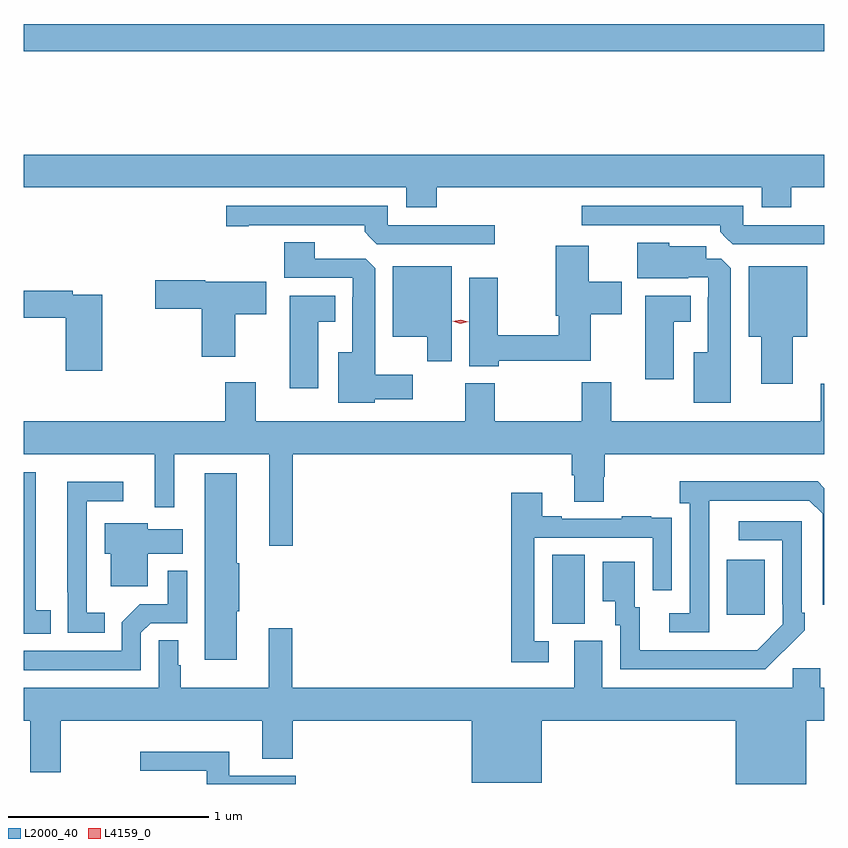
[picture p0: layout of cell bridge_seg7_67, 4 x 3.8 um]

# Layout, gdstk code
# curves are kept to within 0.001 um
import gdstk
lib = gdstk.Library(unit=1e-6, precision=1e-09)
def R(c, l, rs):  # rectangles x0, y0, x1, y1
    for r in rs: c.add(gdstk.rectangle(r[:2], r[2:], *l))
def P(c, l, *ps):  # polygons
    for p in ps: c.add(gdstk.Polygon(p, *l))
L2000_40 = (2000, 40)
L4159_0 = (4159, 0)

bridge_seg7_67 = lib.new_cell('bridge_seg7_67')
R(bridge_seg7_67, L2000_40, [(1079.072,1025.077,1079.236,1025.42), (1079.945,1025.121,1080.133,1025.395), (1076.432,1027.936,1080.432,1028.072)])
P(bridge_seg7_67, L2000_40, [(1078.496,1027.256),(1080.119,1027.256),(1080.119,1027.157),(1080.267,1027.157),(1080.267,1027.256),(1080.432,1027.256),(1080.432,1027.42),(1076.432,1027.42),(1076.432,1027.256),(1078.343,1027.256),(1078.343,1027.157),(1078.496,1027.157)],
  [(1080.432,1027.068),(1080.027,1027.068),(1080.027,1027.164),(1079.22,1027.164),(1079.22,1027.068),(1079.912,1027.068),(1079.912,1027.034),(1079.94,1027.005),(1079.973,1026.972),(1080.432,1026.972)],
  [(1078.786,1027.068),(1078.251,1027.068),(1078.251,1027.164),(1077.444,1027.164),(1077.444,1027.063),(1077.556,1027.063),(1077.556,1027.068),(1078.136,1027.068),(1078.136,1027.034),(1078.164,1027.005),(1078.197,1026.972),(1078.786,1026.972)],
  [(1078.185,1026.197),(1078.375,1026.197),(1078.375,1026.319),(1078.189,1026.319),(1078.189,1026.851),(1078.14,1026.9),(1077.886,1026.9),(1077.886,1026.983),(1077.734,1026.983),(1077.734,1026.804),(1078.077,1026.804),(1078.077,1026.707),(1078.073,1026.707),(1078.073,1026.433),(1078.004,1026.433),(1078.004,1026.179),(1078.185,1026.179)],
  [(1079.965,1026.851),(1079.916,1026.9),(1079.842,1026.9),(1079.842,1026.961),(1079.658,1026.961),(1079.658,1026.979),(1079.498,1026.979),(1079.498,1026.803),(1079.753,1026.803),(1079.753,1026.807),(1079.853,1026.807),(1079.853,1026.707),(1079.849,1026.707),(1079.849,1026.433),(1079.78,1026.433),(1079.78,1026.179),(1079.965,1026.179)],
  [(1078.805,1026.39),(1079.266,1026.39),(1079.266,1026.622),(1079.419,1026.622),(1079.419,1026.784),(1079.254,1026.784),(1079.254,1026.964),(1079.089,1026.964),(1079.089,1026.615),(1079.104,1026.615),(1079.104,1026.518),(1078.8,1026.518),(1078.8,1026.805),(1078.658,1026.805),(1078.658,1026.362),(1078.805,1026.362)],
  [(1078.57,1026.862),(1078.277,1026.862),(1078.277,1026.509),(1078.448,1026.509),(1078.448,1026.387),(1078.57,1026.387)],
  [(1080.274,1026.509),(1080.346,1026.509),(1080.346,1026.862),(1080.053,1026.862),(1080.053,1026.509),(1080.116,1026.509),(1080.116,1026.276),(1080.274,1026.276)],
  [(1077.49,1026.622),(1077.643,1026.622),(1077.643,1026.784),(1077.339,1026.784),(1077.339,1026.792),(1077.09,1026.792),(1077.09,1026.65),(1077.323,1026.65),(1077.323,1026.411),(1077.49,1026.411)],
  [(1076.825,1026.72),(1076.678,1026.72),(1076.678,1026.74),(1076.432,1026.74),(1076.432,1026.604),(1076.642,1026.604),(1076.642,1026.339),(1076.825,1026.339)],
  [(1079.68,1026.584),(1079.764,1026.584),(1079.764,1026.715),(1079.537,1026.715),(1079.537,1026.297),(1079.68,1026.297)],
  [(1077.904,1026.584),(1077.988,1026.584),(1077.988,1026.715),(1077.761,1026.715),(1077.761,1026.252),(1077.904,1026.252)],
  [(1079.331,1025.811),(1079.336,1025.811),(1079.336,1025.924),(1080.432,1025.924),(1080.432,1026.276),(1080.413,1026.276),(1080.413,1026.088),(1079.368,1026.088),(1079.368,1026.283),(1079.221,1026.283),(1079.221,1026.088),(1078.785,1026.088),(1078.785,1026.277),(1078.637,1026.277),(1078.637,1026.088),(1077.592,1026.088),(1077.592,1026.283),(1077.44,1026.283),(1077.44,1026.088),(1076.432,1026.088),(1076.432,1025.924),(1077.086,1025.924),(1077.086,1025.658),(1077.184,1025.658),(1077.184,1025.924),(1077.659,1025.924),(1077.659,1025.466),(1077.776,1025.466),(1077.776,1025.924),(1079.171,1025.924),(1079.171,1025.818),(1079.183,1025.818),(1079.183,1025.686),(1079.331,1025.686)],
  [(1076.567,1025.145),(1076.494,1025.145),(1076.494,1025.832),(1076.432,1025.832),(1076.432,1025.026),(1076.567,1025.026)],
  [(1077.496,1025.14),(1077.509,1025.14),(1077.509,1025.378),(1077.496,1025.378),(1077.496,1025.827),(1077.338,1025.827),(1077.338,1024.896),(1077.496,1024.896)],
  [(1079.856,1025.491),(1079.857,1025.691),(1080.357,1025.691),(1080.423,1025.625),(1080.423,1025.172),(1080.432,1025.172),(1080.432,1025.754),(1080.398,1025.788),(1079.709,1025.788),(1079.709,1025.678),(1079.76,1025.678),(1079.76,1025.13),(1079.658,1025.13),(1079.658,1025.034),(1079.856,1025.034)],
  [(1076.837,1025.132),(1076.748,1025.132),(1076.748,1025.688),(1076.929,1025.688),(1076.929,1025.785),(1076.651,1025.785),(1076.651,1025.234),(1076.652,1025.234),(1076.652,1025.031),(1076.837,1025.031)],
  [(1079.056,1024.989),(1078.983,1024.989),(1078.983,1025.505),(1079.574,1025.505),(1079.574,1025.244),(1079.67,1025.244),(1079.67,1025.498),(1079.669,1025.498),(1079.669,1025.607),(1079.567,1025.607),(1079.567,1025.614),(1079.419,1025.614),(1079.419,1025.601),(1079.119,1025.601),(1079.119,1025.614),(1079.023,1025.614),(1079.023,1025.731),(1078.867,1025.731),(1078.867,1024.884),(1079.056,1024.884)],
  [(1080.227,1024.939),(1080.228,1024.938),(1080.333,1025.043),(1080.333,1025.131),(1080.318,1025.131),(1080.318,1025.589),(1080.003,1025.589),(1080.003,1025.493),(1080.222,1025.493),(1080.222,1025.173),(1080.225,1025.173),(1080.225,1025.073),(1080.097,1024.945),(1079.509,1024.944),(1079.509,1025.16),(1079.485,1025.16),(1079.485,1025.386),(1079.324,1025.386),(1079.324,1025.189),(1079.387,1025.189),(1079.387,1025.07),(1079.412,1025.07),(1079.412,1024.848),(1080.136,1024.848)],
  [(1077.052,1025.426),(1077.226,1025.426),(1077.226,1025.548),(1077.052,1025.548),(1077.052,1025.578),(1076.837,1025.578),(1076.837,1025.426),(1076.867,1025.426),(1076.867,1025.264),(1077.052,1025.264)],
  [(1077.018,1025.031),(1077.066,1025.079),(1077.249,1025.079),(1077.249,1025.341),(1077.153,1025.341),(1077.153,1025.175),(1077.012,1025.175),(1076.922,1025.085),(1076.922,1024.941),(1076.432,1024.941),(1076.432,1024.845),(1077.018,1024.845)],
  [(1080.34,1024.592),(1080.432,1024.592),(1080.432,1024.756),(1080.412,1024.756),(1080.412,1024.854),(1080.273,1024.854),(1080.273,1024.756),(1079.323,1024.756),(1079.323,1024.992),(1079.183,1024.992),(1079.183,1024.756),(1077.773,1024.756),(1077.773,1025.053),(1077.656,1025.053),(1077.656,1024.756),(1077.217,1024.756),(1077.217,1024.869),(1077.205,1024.869),(1077.205,1024.994),(1077.108,1024.994),(1077.108,1024.756),(1076.432,1024.756),(1076.432,1024.592),(1076.465,1024.592),(1076.465,1024.335),(1076.618,1024.335),(1076.618,1024.592),(1077.623,1024.592),(1077.623,1024.402),(1077.776,1024.402),(1077.776,1024.592),(1078.67,1024.592),(1078.67,1024.283),(1079.02,1024.283),(1079.02,1024.592),(1079.99,1024.592),(1079.99,1024.276),(1080.34,1024.276)],
  [(1077.791,1024.317),(1077.46,1024.317),(1077.46,1024.438),(1077.015,1024.438),(1077.015,1024.341),(1077.347,1024.341),(1077.347,1024.276),(1077.791,1024.276)])
P(bridge_seg7_67, L4159_0, [(1078.614,1026.576),(1078.576,1026.587),(1078.576,1026.587),(1078.576,1026.587),(1078.615,1026.596),(1078.653,1026.586),(1078.653,1026.585),(1078.653,1026.585)])

lib.write_gds('bridge_seg7_67.gds')
